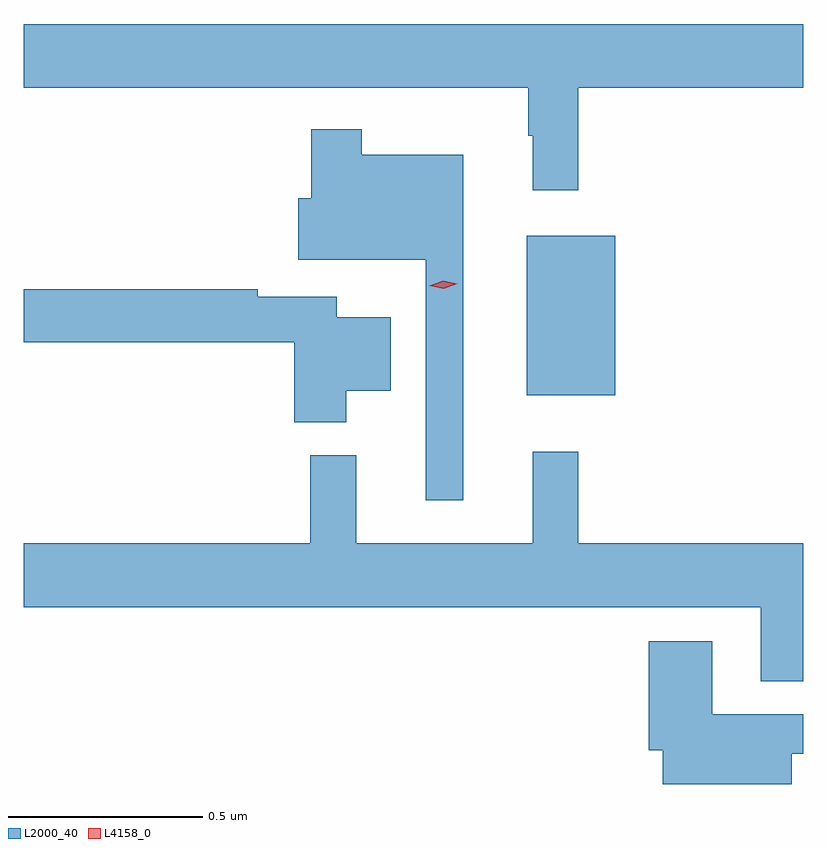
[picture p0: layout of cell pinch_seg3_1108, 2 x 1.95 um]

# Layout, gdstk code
import gdstk
lib = gdstk.Library(unit=1e-6, precision=1e-09)
def R(c, l, rs):  # rectangles x0, y0, x1, y1
    for r in rs: c.add(gdstk.rectangle(r[:2], r[2:], *l))
def P(c, l, *ps):  # polygons
    for p in ps: c.add(gdstk.Polygon(p, *l))
L2000_40 = (2000, 40)
L4158_0 = (4158, 0)

pinch_seg3_1108 = lib.new_cell('pinch_seg3_1108')
R(pinch_seg3_1108, L2000_40, [(343.763,678.815,343.99,679.225)])
P(pinch_seg3_1108, L2000_40, [(343.895,679.604),(344.472,679.604),(344.472,679.768),(342.472,679.768),(342.472,679.604),(343.767,679.604),(343.767,679.481),(343.778,679.481),(343.778,679.341),(343.895,679.341)],
  [(343.6,679.432),(343.339,679.432),(343.339,679.498),(343.21,679.498),(343.21,679.321),(343.176,679.321),(343.176,679.163),(343.503,679.163),(343.503,678.546),(343.6,678.546)],
  [(343.3,678.827),(343.414,678.827),(343.414,679.015),(343.275,679.015),(343.275,679.068),(343.072,679.068),(343.072,679.088),(342.472,679.088),(342.472,678.952),(343.166,678.952),(343.166,678.746),(343.3,678.746)],
  [(344.472,678.436),(343.895,678.436),(343.895,678.67),(343.778,678.67),(343.778,678.436),(343.325,678.436),(343.325,678.661),(343.207,678.661),(343.207,678.436),(342.472,678.436),(342.472,678.272),(344.363,678.272),(344.363,678.082),(344.472,678.082)],
  [(344.443,677.896),(344.472,677.896),(344.472,677.997),(344.239,677.997),(344.239,678.184),(344.075,678.184),(344.075,677.904),(344.111,677.904),(344.111,677.818),(344.443,677.818)])
P(pinch_seg3_1108, L4158_0, [(343.549,679.089),(343.513,679.097),(343.513,679.097),(343.513,679.097),(343.548,679.109),(343.584,679.101),(343.584,679.101),(343.584,679.101)])

lib.write_gds('pinch_seg3_1108.gds')
